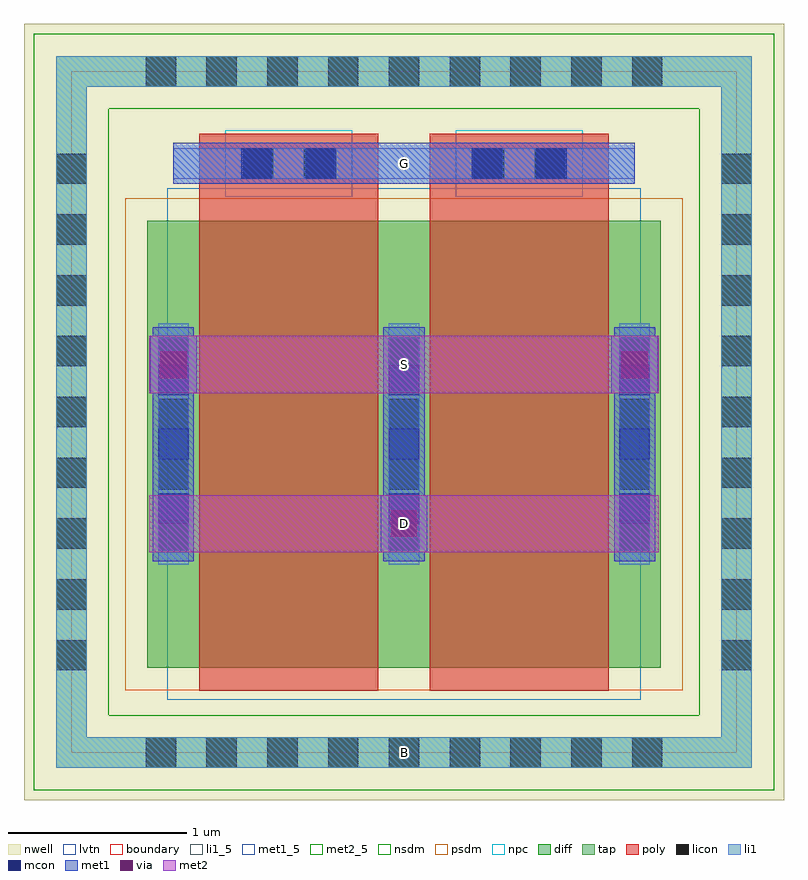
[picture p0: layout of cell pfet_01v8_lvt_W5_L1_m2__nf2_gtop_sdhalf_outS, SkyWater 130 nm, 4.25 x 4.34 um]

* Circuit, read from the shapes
.subckt pfet_01v8_lvt_W5_L1_m2__nf2_gtop_sdhalf_outS B D G S
XM1 D G S B sky130_fd_pr__pfet_01v8_lvt w=2.5 l=1 m=2
.ends

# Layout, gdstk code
import gdstk
lib = gdstk.Library(unit=1e-6, precision=1e-09)
def R(c, l, rs):  # rectangles x0, y0, x1, y1
    for r in rs: c.add(gdstk.rectangle(r[:2], r[2:], *l))
def A(c, l, x, y, w, h, nx, ny, dx, dy):  # array of equal rectangles
    R(c, l, [(x+i*dx, y+j*dy, x+i*dx+w, y+j*dy+h) for i in range(nx) for j in range(ny)])
nwell = (64, 20)
diff = (65, 20)
tap = (65, 44)
poly = (66, 20)
licon = (66, 44)
li1_5 = (67, 5)
li1 = (67, 20)
mcon = (67, 44)
met1_5 = (68, 5)
met1 = (68, 20)
via = (68, 44)
met2_5 = (69, 5)
met2 = (69, 20)
nsdm = (93, 44)
psdm = (94, 20)
npc = (95, 20)
lvtn = (125, 44)
boundary = (235, 4)

sky130_fd_pr__pfet_01v8_ = lib.new_cell('sky130_fd_pr__pfet_01v8_lvt_UYYU78')
R(sky130_fd_pr__pfet_01v8_, nwell, [(-2.125,-2.17,2.125,2.17)])
R(sky130_fd_pr__pfet_01v8_, diff, [(-1.435,-1.43,1.435,1.07)])
R(sky130_fd_pr__pfet_01v8_, tap, [(-1.945,-1.99,1.945,-1.82), (-1.945,-1.82,-1.775,1.82), (1.775,-1.82,1.945,1.82), (-1.945,1.82,1.945,1.99)])
R(sky130_fd_pr__pfet_01v8_, poly, [(-1.145,-1.56,-0.145,1.555), (0.145,-1.56,1.145,1.555)])
A(sky130_fd_pr__pfet_01v8_, licon, -1.445, -1.99, 0.17, 0.17, 9, 2, 0.34, 3.81)
A(sky130_fd_pr__pfet_01v8_, licon, -1.945, -1.445, 0.17, 0.17, 1, 9, 0, 0.34)
A(sky130_fd_pr__pfet_01v8_, licon, 1.775, -1.445, 0.17, 0.17, 1, 9, 0, 0.34)
A(sky130_fd_pr__pfet_01v8_, licon, -1.375, -0.775, 0.17, 0.17, 3, 4, 1.29, 0.34)
R(sky130_fd_pr__pfet_01v8_, licon, [(-0.9,1.305,-0.73,1.475), (-0.56,1.305,-0.39,1.475), (0.39,1.305,0.56,1.475), (0.73,1.305,0.9,1.475)])
A(sky130_fd_pr__pfet_01v8_, li1, -1.375, -0.855, 0.17, 1.35, 3, 1, 1.29, 0)
R(sky130_fd_pr__pfet_01v8_, li1, [(-1.945,-1.99,1.945,-1.82), (-1.945,-1.82,-1.775,1.82), (1.775,-1.82,1.945,1.82), (-1.29,1.305,1.29,1.475), (-1.945,1.82,1.945,1.99)])
A(sky130_fd_pr__pfet_01v8_, mcon, -1.375, -0.625, 0.17, 0.17, 3, 3, 1.29, 0.36)
R(sky130_fd_pr__pfet_01v8_, mcon, [(-0.91,1.305,-0.74,1.475), (-0.55,1.305,-0.38,1.475), (0.38,1.305,0.55,1.475), (0.74,1.305,0.91,1.475)])
A(sky130_fd_pr__pfet_01v8_, met1, -1.405, -0.835, 0.23, 1.31, 3, 1, 1.29, 0)
R(sky130_fd_pr__pfet_01v8_, met1, [(-1.125,1.275,-0.165,1.305), (0.165,1.275,1.125,1.305), (-1.29,1.305,1.29,1.475), (-1.125,1.475,-0.165,1.505), (0.165,1.475,1.125,1.505)])
R(sky130_fd_pr__pfet_01v8_, nsdm, [(-2.07,-2.115,2.07,-1.695), (-2.07,-1.695,-1.65,1.695), (1.65,-1.695,2.07,1.695), (-2.07,1.695,2.07,2.115)])
R(sky130_fd_pr__pfet_01v8_, psdm, [(-1.56,-1.555,1.56,1.195)])
R(sky130_fd_pr__pfet_01v8_, npc, [(-1,1.205,-0.29,1.575), (0.29,1.205,1,1.575)])
R(sky130_fd_pr__pfet_01v8_, lvtn, [(-1.325,-1.61,1.325,1.25)])
R(sky130_fd_pr__pfet_01v8_, boundary, [(-1.86,-1.905,1.86,1.905)])
sky130_fd_pr__pfet_01v8_.add(gdstk.Label('B', (0,-1.905), layer=67, texttype=5))
sky130_fd_pr__pfet_01v8_.add(gdstk.Label('D0', (-1.29,-0.18), layer=67, texttype=5))
sky130_fd_pr__pfet_01v8_.add(gdstk.Label('G', (0.645,1.39), layer=67, texttype=5))
sky130_fd_pr__pfet_01v8_.add(gdstk.Label('G', (-0.645,1.39), layer=67, texttype=5))
sky130_fd_pr__pfet_01v8_.add(gdstk.Label('S1', (0,-0.18), layer=67, texttype=5))

pfet_01v8_lvt_w5_l1_m2__ = lib.new_cell('pfet_01v8_lvt_W5_L1_m2__nf2_gtop_sdhalf_outS')
R(pfet_01v8_lvt_w5_l1_m2__, li1_5, [(1.775,-0.085,1.945,0.085)])
R(pfet_01v8_lvt_w5_l1_m2__, li1, [(1.775,-0.085,1.945,0.085)])
R(pfet_01v8_lvt_w5_l1_m2__, met1_5, [(0.57,3.18,3.15,3.41)])
R(pfet_01v8_lvt_w5_l1_m2__, met1, [(1.73,1.12,1.99,1.44), (0.44,2.01,0.7,2.33), (3.02,2.01,3.28,2.33), (0.57,3.18,3.15,3.41)])
R(pfet_01v8_lvt_w5_l1_m2__, via, [(1.785,1.205,1.935,1.355), (0.495,2.095,0.645,2.245), (3.075,2.095,3.225,2.245)])
R(pfet_01v8_lvt_w5_l1_m2__, met2_5, [(0.435,1.12,3.285,1.44), (0.435,2.01,3.285,2.33)])
R(pfet_01v8_lvt_w5_l1_m2__, met2, [(0.435,1.12,3.285,1.44), (0.435,2.01,3.285,2.33)])
pfet_01v8_lvt_w5_l1_m2__.add(gdstk.Reference(sky130_fd_pr__pfet_01v8_, (1.86,1.905)))
pfet_01v8_lvt_w5_l1_m2__.add(gdstk.Label('S', (1.86,2.17), layer=69, texttype=5))
pfet_01v8_lvt_w5_l1_m2__.add(gdstk.Label('D', (1.86,1.28), layer=69, texttype=5))
pfet_01v8_lvt_w5_l1_m2__.add(gdstk.Label('G', (1.86,3.295), layer=68, texttype=5))
pfet_01v8_lvt_w5_l1_m2__.add(gdstk.Label('B', (1.86,0), layer=67, texttype=5))

lib.write_gds('pfet_01v8_lvt_W5_L1_m2__nf2_gtop_sdhalf_outS.gds')
